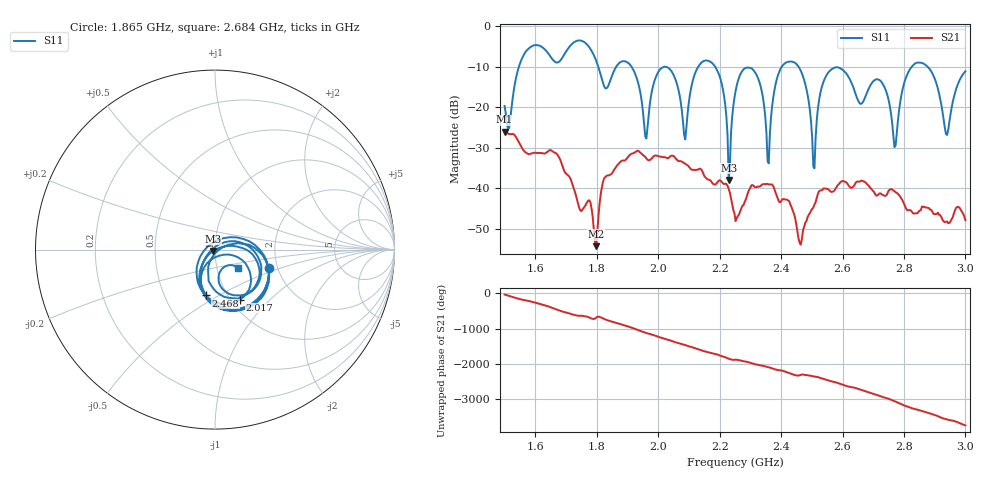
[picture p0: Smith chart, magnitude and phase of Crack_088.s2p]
# HZ S RI R 50
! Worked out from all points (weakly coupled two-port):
!   404 points, 1.5 GHz to 3 GHz, reference 50 ohm
!   highest |S21| = -26.07 dB at 1.5 GHz (marker M1); lowest = -54.2 dB at 1.798 GHz (marker M2)
!   lowest |S11| = -37.9 dB at 2.23 GHz (marker M3), VSWR 1.03, Z = 49 - j0.717 ohm
!   |S11| at or under -10 dB: 1.913 GHz to 2.131 GHz (218.1 MHz wide, 10.8 % of centre); 2.185 GHz to 2.403 GHz (217.8 MHz wide, 9.5 % of centre); 2.457 GHz to 2.826 GHz (369.5 MHz wide, 14 % of centre) (the widest 3 of 6)
!   S12 and S22 are empty: the file has one direction only
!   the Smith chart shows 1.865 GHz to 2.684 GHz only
!   S11 on the Smith chart (normalised r, x): 1.865 GHz: 1.81, -0.42; 2.017 GHz: 1.10, -0.68; 2.468 GHz: 0.80, -0.44; 2.684 GHz: 1.26, -0.27
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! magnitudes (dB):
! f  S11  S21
! 1.5 GHz  -19.7  -26.1
! 1.753 GHz  -3.7  -45.2
! 1.798 GHz  -8.5  -54.2
! 1.865 GHz  -9.9  -34.5
! 1.962 GHz  -27.7  -32.6
! 2.002 GHz  -11.1  -32.1
! 2.017 GHz  -10.1  -32.3
! 2.088 GHz  -27.9  -33.9
! 2.181 GHz  -9.6  -39.0
! 2.23 GHz  -37.9  -40.1
! 2.252 GHz  -16.1  -48.0
! 2.315 GHz  -11.4  -39.7
! 2.36 GHz  -33.8  -39.0
! 2.397 GHz  -10.8  -43.4
! 2.468 GHz  -11.7  -52.5
! 2.501 GHz  -27.5  -45.0
! 2.561 GHz  -10.9  -40.8
! 2.684 GHz  -15.7  -39.2
! 2.751 GHz  -18.4  -40.5
! 2.862 GHz  -9.2  -44.5
! 2.94 GHz  -26.9  -48.1
! 3 GHz  -11.2  -47.8
